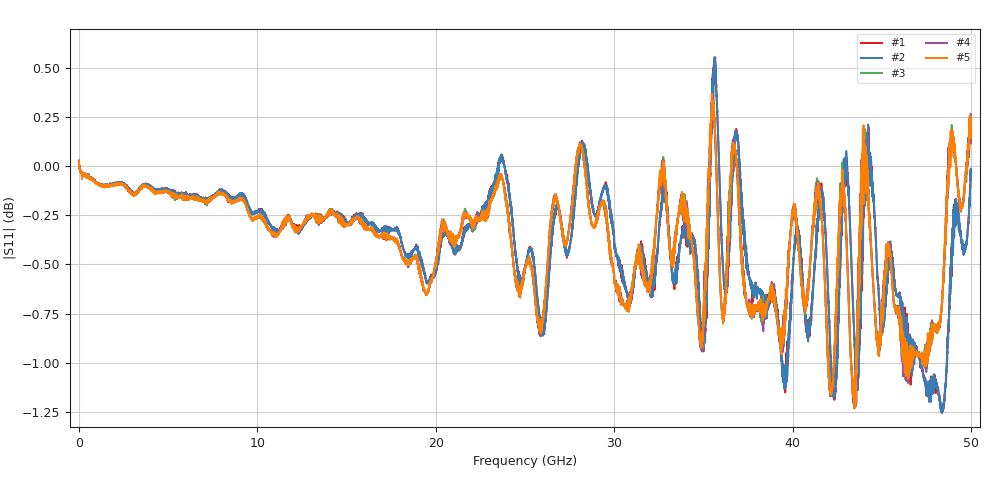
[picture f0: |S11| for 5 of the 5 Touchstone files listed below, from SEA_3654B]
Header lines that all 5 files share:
!Created with skrf (http://scikit-rf.org).
# Hz S RI R 50.0
!freq ReS11 ImS11
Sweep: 5.3 MHz to 50 GHz
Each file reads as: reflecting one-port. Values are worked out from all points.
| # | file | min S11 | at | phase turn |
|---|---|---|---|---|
| 1 | 3654B_FM_85058B_FSHORT3_FieldFox_mate1_swp1.s1p | -1.2 dB | 48.39 GHz | -3760 deg |
| 2 | 3654B_FM_85058B_FSHORT3_FieldFox_mate1_swp2.s1p | -1.3 dB | 48.38 GHz | -3760 deg |
| 3 | 3654B_FM_85058B_FSHORT4_FieldFox_mate1_swp0.s1p | -1.2 dB | 43.46 GHz | -3824 deg |
| 4 | 3654B_FM_85058B_FSHORT4_FieldFox_mate1_swp1.s1p | -1.2 dB | 43.48 GHz | -3824 deg |
| 5 | 3654B_FM_85058B_FSHORT4_FieldFox_mate1_swp2.s1p | -1.2 dB | 43.47 GHz | -3824 deg |
